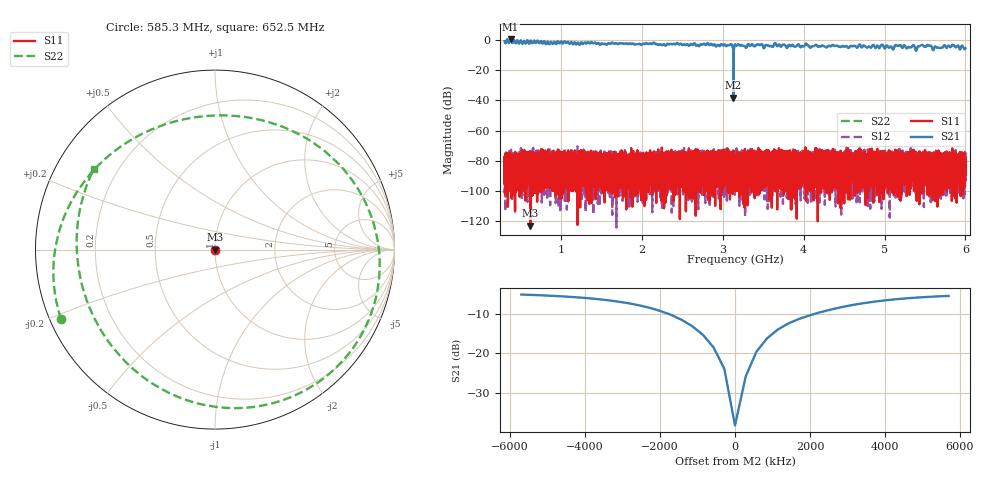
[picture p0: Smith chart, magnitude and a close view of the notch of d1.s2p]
!Agilent Technologies,N5230C,SG49000117,A.08.50.07
!Agilent N5230C: A.08.50.07
!Date: Monday, March 18, 2024 18:45:48
!Correction: S11(Off)
!S21(Off)
!S12(Off)
!S22(Off)
!S2P File: Measurements: S11, S21, S12, S22:
# Hz S  RI  R 50
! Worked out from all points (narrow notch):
!   20001 points, 300 MHz to 6 GHz, reference 50 ohm
!   highest |S21| = 0.44 dB at 374.1 MHz (marker M1); lowest = -38.2 dB at 3.131 GHz (marker M2)
!   notch at M2: 34.8 dB deep, 964 kHz wide at half that depth
!   lowest |S11| = -122.9 dB at 620.1 MHz (marker M3), VSWR 1.00, Z = 50 - j5.39e-05 ohm
!   |S11| at or under -10 dB: start of sweep to end of sweep
!   |S22| runs from -38.7 to 0.5 dB; largest |S21 - S12| = 1.1
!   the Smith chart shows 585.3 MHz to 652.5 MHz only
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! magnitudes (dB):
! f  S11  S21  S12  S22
! 300 MHz  -78.5  -0.9  -79.4  -0.9
! 374.1 MHz  -80.9  0.4  -74.7  0.5
! 620.1 MHz  -122.9  -0.7  -80.4  -0.7
! 1.25 GHz  -79.3  -1.8  -80.6  -1.7
! 2.2 GHz  -86.0  -3.5  -80.8  -3.5
! 3.086 GHz  -79.5  -3.4  -79.0  -3.3
! 3.131 GHz  -90.7  -38.2  -75.5  -38.7
! 3.15 GHz  -82.2  -3.0  -78.7  -3.0
! 3.17 GHz  -87.5  -3.8  -85.9  -3.8
! 3.272 GHz  -72.2  -4.4  -87.0  -4.3
! 3.458 GHz  -79.3  -3.5  -73.8  -3.5
! 3.978 GHz  -77.9  -4.1  -86.0  -4.0
! 4.037 GHz  -78.4  -3.0  -86.1  -2.9
! 4.1 GHz  -87.7  -4.4  -78.2  -4.3
! 5.05 GHz  -88.2  -5.2  -82.0  -5.2
! 5.168 GHz  -95.7  -4.1  -80.0  -4.1
! 5.398 GHz  -91.6  -6.3  -77.4  -6.3
! 5.446 GHz  -80.8  -3.8  -79.8  -3.8
! 5.549 GHz  -88.6  -3.9  -77.4  -3.9
! 5.616 GHz  -88.5  -5.1  -86.0  -5.1
! 5.848 GHz  -83.3  -3.4  -85.2  -3.4
! 6 GHz  -82.0  -5.6  -77.5  -5.7
